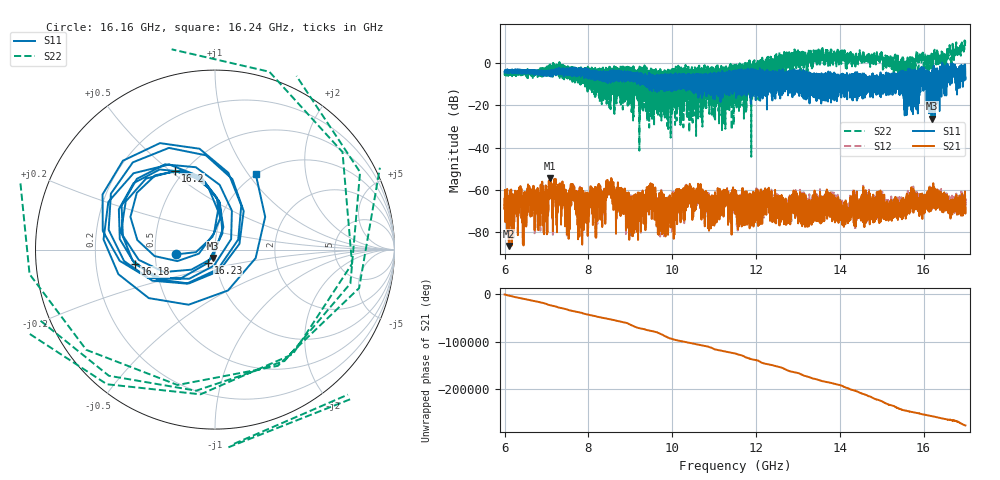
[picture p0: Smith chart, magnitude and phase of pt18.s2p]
#  HZ  S  RI  R  50.00
! Rohde & Schwarz Vector Network Analyzer
! Rohde-Schwarz,ZNA67-2Port,1332450062101215,3.01
! Created: UTC 10/26/2026, 5:24:01 PM
! freq[Hz]  re:S11  im:S11  re:S21  im:S21  re:S12  im:S12  re:S22  im:S22
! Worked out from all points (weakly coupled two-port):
!   11001 points, 6 GHz to 17 GHz, reference 50 ohm
!   highest |S21| = -54.42 dB at 7.083 GHz (marker M1); lowest = -86.6 dB at 6.102 GHz (marker M2)
!   lowest |S11| = -26.3 dB at 16.19 GHz (marker M3), VSWR 1.10, Z = 48.5 - j4.55 ohm
!   |S11| at or under -10 dB: 9.589876 GHz to 9.594147 GHz (4.271 MHz wide, 0.0445 % of centre); 16.09896 GHz to 16.11287 GHz (13.91 MHz wide, 0.0864 % of centre); 16.15394 GHz to 16.15926 GHz (5.318 MHz wide, 0.0329 % of centre) (the widest 3 of 617)
!   |S22| runs from -44.4 to 10.6 dB; largest |S21 - S12| = 0.0011
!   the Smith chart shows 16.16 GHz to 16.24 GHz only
!   S11 on the Smith chart (normalised r, x): 16.16 GHz: 0.65, -0.04; 16.18 GHz: 0.38, -0.08; 16.2 GHz: 0.45, +0.52; 16.23 GHz: 0.91, -0.14; 16.24 GHz: 1.00, +1.08
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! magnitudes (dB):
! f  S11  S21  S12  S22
! 6 GHz  -4.3  -68.9  -68.8  -4.6
! 6.102 GHz  -4.0  -86.6  -86.1  -4.7
! 6.587 GHz  -3.4  -61.1  -61.0  -4.7
! 6.984 GHz  -3.7  -61.7  -62.0  -2.4
! 7.083 GHz  -5.4  -54.4  -54.0  -3.3
! 7.834 GHz  -3.7  -65.6  -65.9  -2.9
! 8.509 GHz  -6.8  -60.6  -60.6  -5.5
! 9.017 GHz  -5.4  -79.8  -78.5  -6.9
! 9.503 GHz  -6.8  -66.7  -67.2  -3.9
! 9.667 GHz  -6.7  -67.1  -67.2  -4.8
! 10.39 GHz  -5.4  -62.1  -62.1  -1.8
! 10.93 GHz  -14.9  -73.8  -72.9  -11.3
! 11.5 GHz  -3.7  -64.1  -63.6  -3.4
! 13.33 GHz  -6.4  -66.7  -64.0  -0.5
! 15.17 GHz  -13.1  -70.5  -68.0  1.3
! 16.16 GHz  -13.3  -60.6  -61.1  2.2
! 16.18 GHz  -6.9  -60.0  -62.5  -1.6
! 16.19 GHz  -26.3  -64.2  -63.6  4.4
! 16.2 GHz  -6.2  -62.4  -62.3  3.4
! 16.23 GHz  -21.4  -65.7  -61.8  1.4
! 16.24 GHz  -6.4  -62.6  -62.8  3.8
! 17 GHz  -6.9  -68.8  -64.2  8.3
